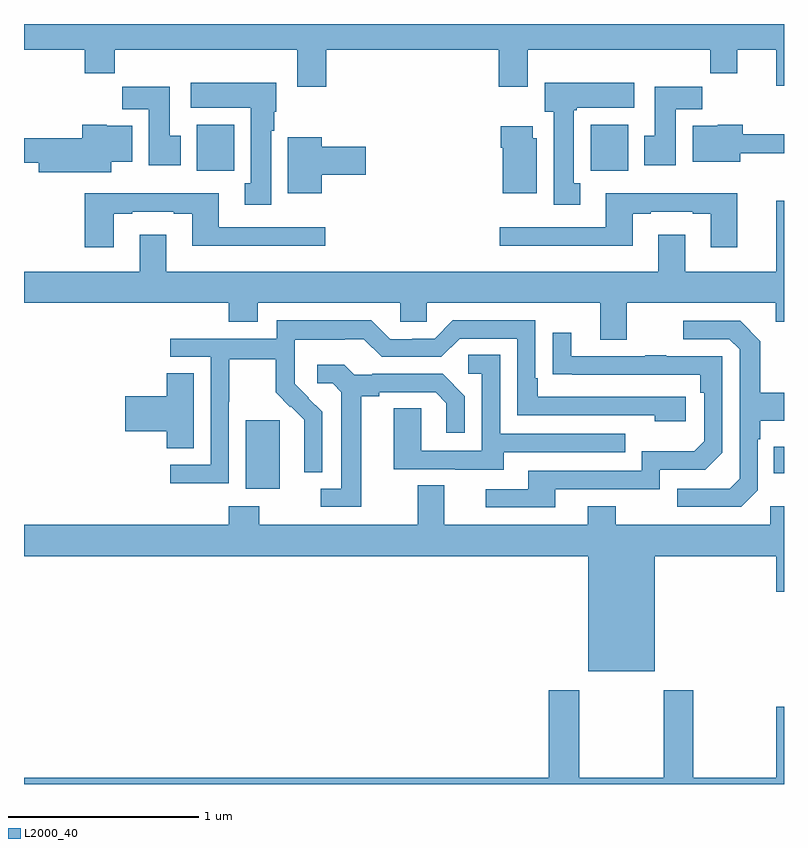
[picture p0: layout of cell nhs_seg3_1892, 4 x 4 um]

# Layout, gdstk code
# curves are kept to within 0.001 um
import gdstk
lib = gdstk.Library(unit=1e-6, precision=1e-09)
def R(c, l, rs):  # rectangles x0, y0, x1, y1
    for r in rs: c.add(gdstk.rectangle(r[:2], r[2:], *l))
def P(c, l, *ps):  # polygons
    for p in ps: c.add(gdstk.Polygon(p, *l))
L2000_40 = (2000, 40)

nhs_seg3_1892 = lib.new_cell('nhs_seg3_1892')
R(nhs_seg3_1892, L2000_40, [(210.167,683.954,210.346,684.315), (212.947,684.035,213,684.175), (209.909,685.628,210.106,685.87), (211.982,685.628,212.179,685.87)])
P(nhs_seg3_1892, L2000_40, [(210.59,686.264),(211.499,686.264),(211.499,686.07),(211.651,686.07),(211.651,686.264),(212.611,686.264),(212.611,686.14),(212.755,686.14),(212.755,686.264),(212.96,686.264),(212.96,686.076),(213,686.076),(213,686.4),(209,686.4),(209,686.264),(209.321,686.264),(209.321,686.14),(209.477,686.14),(209.477,686.264),(210.437,686.264),(210.437,686.07),(210.59,686.07)],
  [(211.927,685.562),(211.894,685.562),(211.894,685.945),(211.908,685.945),(211.908,685.958),(212.212,685.958),(212.212,686.092),(211.742,686.092),(211.742,685.938),(211.787,685.938),(211.787,685.449),(211.927,685.449)],
  [(210.301,685.838),(210.316,685.838),(210.316,685.938),(210.328,685.938),(210.328,686.092),(209.877,686.092),(209.877,685.958),(210.194,685.958),(210.194,685.562),(210.161,685.562),(210.161,685.449),(210.301,685.449)],
  [(212.431,685.952),(212.57,685.952),(212.57,686.071),(212.321,686.071),(212.321,685.812),(212.264,685.812),(212.264,685.656),(212.431,685.656)],
  [(209.824,685.812),(209.767,685.812),(209.767,686.071),(209.518,686.071),(209.518,685.952),(209.657,685.952),(209.657,685.656),(209.824,685.656)],
  [(212.77,685.72),(213,685.72),(213,685.821),(212.783,685.821),(212.783,685.87),(212.652,685.87),(212.652,685.864),(212.519,685.864),(212.519,685.676),(212.77,685.676)],
  [(209.458,685.676),(209.569,685.676),(209.569,685.864),(209.436,685.864),(209.436,685.87),(209.306,685.87),(209.306,685.798),(209,685.798),(209,685.669),(209.078,685.669),(209.078,685.619),(209.458,685.619)],
  [(211.699,685.8),(211.678,685.8),(211.678,685.861),(211.508,685.861),(211.508,685.748),(211.52,685.748),(211.52,685.508),(211.699,685.508)],
  [(210.568,685.607),(210.799,685.607),(210.799,685.754),(210.568,685.754),(210.568,685.804),(210.389,685.804),(210.389,685.508),(210.568,685.508)],
  [(212.755,685.51),(212.063,685.51),(212.063,685.329),(211.503,685.329),(211.503,685.232),(212.203,685.232),(212.203,685.401),(212.299,685.401),(212.299,685.413),(212.519,685.413),(212.519,685.401),(212.615,685.401),(212.615,685.224),(212.755,685.224)],
  [(209.473,685.401),(209.569,685.401),(209.569,685.413),(209.789,685.413),(209.789,685.401),(209.885,685.401),(209.885,685.232),(210.586,685.232),(210.586,685.329),(210.025,685.329),(210.025,685.51),(209.321,685.51),(209.321,685.224),(209.473,685.224)],
  [(212.173,684.932),(212.957,684.932),(212.957,684.833),(213,684.833),(213,685.471),(212.96,685.471),(212.96,685.096),(212.479,685.096),(212.479,685.291),(212.339,685.291),(212.339,685.096),(209.749,685.096),(209.749,685.291),(209.609,685.291),(209.609,685.096),(209,685.096),(209,684.932),(210.077,684.932),(210.077,684.833),(210.229,684.833),(210.229,684.932),(210.981,684.932),(210.981,684.834),(211.119,684.834),(211.119,684.932),(212.033,684.932),(212.033,684.738),(212.173,684.738)],
  [(210.078,684.412),(210.081,684.412),(210.081,684.636),(210.325,684.636),(210.325,684.461),(210.402,684.384),(210.405,684.387),(210.476,684.317),(210.476,684.194),(210.474,684.194),(210.474,684.04),(210.57,684.04),(210.57,684.358),(210.424,684.506),(210.424,684.603),(210.426,684.603),(210.426,684.737),(210.689,684.737),(210.689,684.741),(210.789,684.741),(210.882,684.648),(211.197,684.648),(211.293,684.744),(211.596,684.744),(211.596,684.342),(212.321,684.342),(212.321,684.308),(212.482,684.308),(212.482,684.438),(211.705,684.438),(211.705,684.535),(211.692,684.535),(211.692,684.84),(211.257,684.84),(211.161,684.744),(211.043,684.744),(211.043,684.741),(210.927,684.741),(210.827,684.841),(210.33,684.841),(210.33,684.744),(209.769,684.744),(209.769,684.648),(209.982,684.648),(209.982,684.081),(209.769,684.081),(209.769,683.983),(210.078,683.983)],
  [(212.862,683.946),(212.862,684.215),(212.875,684.215),(212.875,684.311),(213,684.311),(213,684.459),(212.875,684.459),(212.875,684.731),(212.769,684.837),(212.469,684.837),(212.469,684.741),(212.712,684.741),(212.766,684.687),(212.766,684.006),(212.715,683.955),(212.439,683.955),(212.439,683.859),(212.775,683.859)],
  [(211.795,683.952),(212.346,683.952),(212.346,684.054),(212.586,684.054),(212.676,684.144),(212.676,684.651),(212.381,684.651),(212.381,684.656),(212.269,684.656),(212.269,684.651),(211.879,684.651),(211.879,684.775),(211.783,684.775),(211.783,684.556),(212.56,684.555),(212.56,684.458),(212.58,684.458),(212.58,684.204),(212.527,684.151),(212.25,684.151),(212.25,684.048),(211.655,684.048),(211.655,683.952),(211.431,683.952),(211.431,683.856),(211.795,683.856)],
  [(211.525,684.147),(212.165,684.147),(212.165,684.243),(211.506,684.243),(211.506,684.659),(211.338,684.659),(211.338,684.558),(211.41,684.558),(211.41,684.153),(211.092,684.153),(211.092,684.377),(210.947,684.377),(210.947,684.057),(211.271,684.057),(211.271,684.053),(211.525,684.053)],
  [(210.775,684.44),(210.871,684.44),(210.871,684.462),(211.166,684.462),(211.223,684.405),(211.223,684.249),(211.32,684.249),(211.32,684.442),(211.204,684.558),(210.832,684.558),(210.832,684.555),(210.738,684.555),(210.686,684.607),(210.543,684.607),(210.543,684.51),(210.624,684.51),(210.671,684.463),(210.671,683.955),(210.561,683.955),(210.561,683.859),(210.775,683.859)],
  [(209.893,684.563),(209.75,684.563),(209.75,684.44),(209.532,684.44),(209.532,684.257),(209.75,684.257),(209.75,684.166),(209.893,684.166)],
  [(212.32,683.6),(212.96,683.6),(212.96,683.412),(213,683.412),(213,683.863),(212.928,683.863),(212.928,683.764),(212.115,683.764),(212.115,683.863),(211.967,683.863),(211.967,683.764),(211.213,683.764),(211.213,683.972),(211.073,683.972),(211.073,683.764),(210.237,683.764),(210.237,683.863),(210.077,683.863),(210.077,683.764),(209,683.764),(209,683.6),(211.97,683.6),(211.97,682.994),(212.32,682.994)],
  [(213,682.807),(212.96,682.807),(212.96,682.432),(212.523,682.432),(212.523,682.894),(212.368,682.894),(212.368,682.432),(211.923,682.432),(211.923,682.894),(211.763,682.894),(211.763,682.432),(209,682.432),(209,682.4),(213,682.4)])

lib.write_gds('nhs_seg3_1892.gds')
